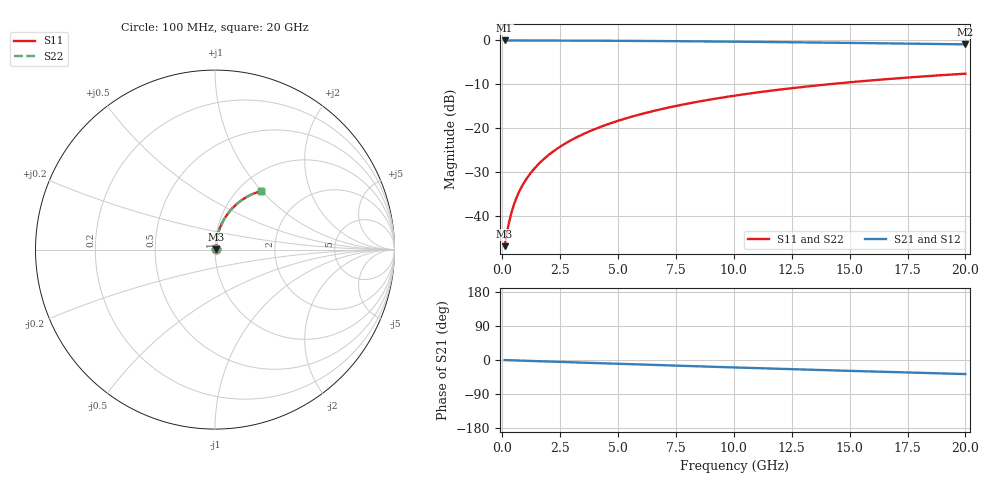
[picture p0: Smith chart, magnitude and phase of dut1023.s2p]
! Touchstone file exported from HFSS 2026.1.0
!  File:  C:/ffzhzh/LocalFiles/Ansys_Project_Files/temp_train_TMRDL_1023_1783159892_18472.aedt
!  Generated:  06:12:47 PM Jul  4, 2026
!  Design:  TMRDL
!  Project:  temp_train_TMRDL_1023_1783159892_18472
! Variables:
!  h_bsmrdl = 2um
!  h_ox = 20um
!  h_rdl = 5um
!  h_sub = 80um
!  h_tmrdl = 2.58um
!  h_tsv = 80um
!  h_via = 3um
!  l_bsmrdl = 300um
!  l_sub = 861.99um
!  l_tmrdl = 461.99um
!  m_sub = 200um
!  pitch = 56.01um
!  r_tsv = 6um
!  s_tmrdl = 10um
!  w_bsmrdl = 18um
!  w_sub = 500um
!  w_tmrdl = 18.37um
!  x_tsv_center1 = 471.175um
!  x_tsv_center2 = 789.175um
!  x_tsv_center3 = 1269.535um
!  x_tsv_center4 = 1587.535um
!  x_tsv_center5 = 2067.895um
!  x_tsv_center6 = 2385.895um
# GHz S MA R 50.000000
! Terminal data exported
! Port[1] = TM_RDL1_1_T1
! Port[2] = TM_RDL1_1_T2
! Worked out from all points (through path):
!   200 points, 100 MHz to 20 GHz, reference 50 ohm
!   highest |S21| = -0.03 dB at 100 MHz (marker M1); lowest = -0.9 dB at 20 GHz (marker M2)
!   group delay of S21, straight-line fit = 5.17 ps
!   lowest |S11| = -46.9 dB at 100 MHz (marker M3), VSWR 1.01, Z = 50.4 + j0.261 ohm
!   |S11| at or under -10 dB: start of sweep to 14.13 GHz
!   |S22| runs from -46.9 to -7.6 dB; largest |S21 - S12| = 5e-15
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0.1  0.004506 35.1  0.9963 -0.2  0.9963 -0.2  0.004506 35.1
! Gamma 0 0 0 0
! Port Impedance 50 0 50 0
0.2  0.006395 53.7  0.9962 -0.4  0.9962 -0.4  0.006395 53.7
0.3  0.008631 63.0  0.9961 -0.6  0.9961 -0.6  0.008631 63.0
0.4  0.01097 68.1  0.996 -0.8  0.996 -0.8  0.01097 68.1
0.5  0.01335 71.3  0.9959 -1.0  0.9959 -1.0  0.01335 71.3
0.6  0.01573 73.5  0.9957 -1.2  0.9957 -1.2  0.01573 73.5
0.8  0.0205 76.3  0.9955 -1.6  0.9955 -1.6  0.0205 76.3
1.1  0.02768 78.5  0.9952 -2.2  0.9952 -2.2  0.02768 78.5
1.5  0.03729 79.9  0.9948 -3.0  0.9948 -3.0  0.03729 79.9
1.8  0.04451 80.4  0.9944 -3.6  0.9944 -3.6  0.04451 80.4
2.1  0.05175 80.6  0.994 -4.2  0.994 -4.2  0.05175 80.6
2.7  0.0662 80.4  0.993 -5.4  0.993 -5.4  0.0662 80.4
3.5  0.0854 79.6  0.9914 -7.0  0.9914 -7.0  0.0854 79.6
4.2  0.1021 78.7  0.9896 -8.4  0.9896 -8.4  0.1021 78.7
5  0.121 77.4  0.9873 -10.0  0.9873 -10.0  0.121 77.5
5.9  0.142 76.0  0.9842 -11.8  0.9842 -11.8  0.142 76.0
6.8  0.1627 74.4  0.9807 -13.5  0.9807 -13.5  0.1627 74.4
8.3  0.1964 71.7  0.9741 -16.4  0.9741 -16.4  0.1964 71.7
10.1  0.2354 68.5  0.9648 -19.8  0.9648 -19.8  0.2354 68.5
13.4  0.3023 62.6  0.9451 -25.8  0.9451 -25.8  0.3023 62.6
16.7  0.3628 57.0  0.9229 -31.6  0.9229 -31.6  0.3628 57.0
20  0.4166 51.6  0.8996 -37.1  0.8996 -37.1  0.4166 51.6
